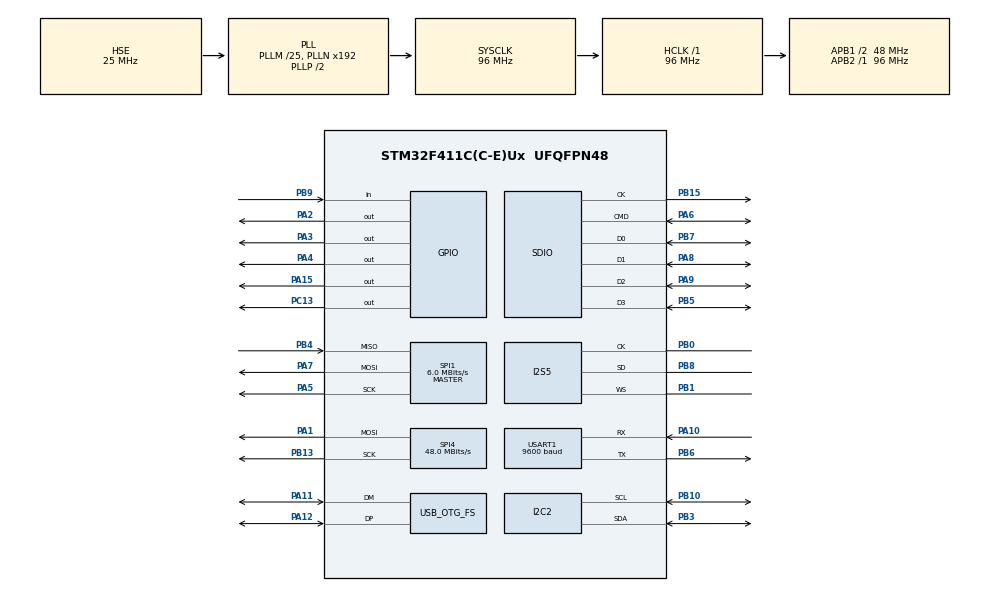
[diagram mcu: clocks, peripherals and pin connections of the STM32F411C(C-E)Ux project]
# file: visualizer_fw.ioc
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Dma.Request0=SDIO_RX
Dma.Request1=SDIO_TX
Dma.Request2=SPI4_TX
Dma.Request3=SPI5_TX
Dma.SDIO_RX.0.Direction=DMA_PERIPH_TO_MEMORY
Dma.SDIO_RX.0.FIFOMode=DMA_FIFOMODE_ENABLE
Dma.SDIO_RX.0.FIFOThreshold=DMA_FIFO_THRESHOLD_FULL
Dma.SDIO_RX.0.Instance=DMA2_Stream3
Dma.SDIO_RX.0.MemBurst=DMA_MBURST_INC4
Dma.SDIO_RX.0.MemDataAlignment=DMA_MDATAALIGN_WORD
Dma.SDIO_RX.0.MemInc=DMA_MINC_ENABLE
Dma.SDIO_RX.0.Mode=DMA_PFCTRL
Dma.SDIO_RX.0.PeriphBurst=DMA_PBURST_INC4
Dma.SDIO_RX.0.PeriphDataAlignment=DMA_PDATAALIGN_WORD
Dma.SDIO_RX.0.PeriphInc=DMA_PINC_DISABLE
Dma.SDIO_RX.0.Priority=DMA_PRIORITY_LOW
Dma.SDIO_TX.1.Direction=DMA_MEMORY_TO_PERIPH
Dma.SDIO_TX.1.FIFOMode=DMA_FIFOMODE_ENABLE
Dma.SDIO_TX.1.FIFOThreshold=DMA_FIFO_THRESHOLD_FULL
Dma.SDIO_TX.1.Instance=DMA2_Stream6
Dma.SDIO_TX.1.MemBurst=DMA_MBURST_INC4
Dma.SDIO_TX.1.MemDataAlignment=DMA_MDATAALIGN_WORD
Dma.SDIO_TX.1.MemInc=DMA_MINC_ENABLE
Dma.SDIO_TX.1.Mode=DMA_PFCTRL
Dma.SDIO_TX.1.PeriphBurst=DMA_PBURST_INC4
Dma.SDIO_TX.1.PeriphDataAlignment=DMA_PDATAALIGN_WORD
Dma.SDIO_TX.1.PeriphInc=DMA_PINC_DISABLE
Dma.SDIO_TX.1.Priority=DMA_PRIORITY_LOW
Dma.SPI4_TX.2.Direction=DMA_MEMORY_TO_PERIPH
Dma.SPI4_TX.2.FIFOMode=DMA_FIFOMODE_DISABLE
Dma.SPI4_TX.2.Instance=DMA2_Stream1
Dma.SPI4_TX.2.MemDataAlignment=DMA_MDATAALIGN_HALFWORD
Dma.SPI4_TX.2.MemInc=DMA_MINC_ENABLE
Dma.SPI4_TX.2.Mode=DMA_NORMAL
Dma.SPI4_TX.2.PeriphDataAlignment=DMA_PDATAALIGN_HALFWORD
Dma.SPI4_TX.2.PeriphInc=DMA_PINC_DISABLE
Dma.SPI4_TX.2.Priority=DMA_PRIORITY_LOW
Dma.SPI5_TX.3.Direction=DMA_MEMORY_TO_PERIPH
Dma.SPI5_TX.3.FIFOMode=DMA_FIFOMODE_DISABLE
Dma.SPI5_TX.3.Instance=DMA2_Stream4
Dma.SPI5_TX.3.MemDataAlignment=DMA_MDATAALIGN_HALFWORD
Dma.SPI5_TX.3.MemInc=DMA_MINC_ENABLE
Dma.SPI5_TX.3.Mode=DMA_NORMAL
Dma.SPI5_TX.3.PeriphDataAlignment=DMA_PDATAALIGN_HALFWORD
Dma.SPI5_TX.3.PeriphInc=DMA_PINC_DISABLE
Dma.SPI5_TX.3.Priority=DMA_PRIORITY_LOW
I2S5.AudioFreq=I2S_AUDIOFREQ_16K
I2S5.ErrorAudioFreq=-0.01 %
I2S5.FullDuplexMode=I2S_FULLDUPLEXMODE_DISABLE
I2S5.Instance=SPI$Index
I2S5.RealAudioFreq=15.998 KHz
I2S5.VirtualMode=I2S_MODE_SLAVE
Mcu.Family=STM32F4
Mcu.Name=STM32F411C(C-E)Ux
Mcu.Package=UFQFPN48
NVIC.DMA2_Stream1_IRQn=true\:5\:0\:true\:false\:true\:false\:true\:true
NVIC.DMA2_Stream3_IRQn=true\:5\:0\:true\:false\:true\:false\:true\:true
NVIC.DMA2_Stream4_IRQn=true\:5\:0\:true\:false\:true\:false\:true\:true
NVIC.DMA2_Stream6_IRQn=true\:5\:0\:true\:false\:true\:false\:true\:true
NVIC.I2C2_ER_IRQn=true\:5\:0\:true\:false\:true\:true\:true\:true
NVIC.I2C2_EV_IRQn=true\:5\:0\:true\:false\:true\:true\:true\:true
NVIC.OTG_FS_IRQn=true\:6\:0\:true\:false\:true\:false\:true\:true
NVIC.PriorityGroup=NVIC_PRIORITYGROUP_4
NVIC.SDIO_IRQn=true\:5\:0\:true\:false\:true\:true\:true\:true
NVIC.SPI1_IRQn=true\:5\:0\:true\:false\:true\:true\:true\:true
NVIC.SPI4_IRQn=true\:5\:0\:true\:false\:true\:true\:true\:true
NVIC.SPI5_IRQn=true\:5\:0\:true\:false\:true\:true\:true\:true
NVIC.USART1_IRQn=true\:5\:0\:true\:false\:true\:true\:true\:true
PA1.Mode=TX_Only_Simplex_Unidirect_Master
PA1.Signal=SPI4_MOSI
PA10.Mode=Asynchronous
PA10.Signal=USART1_RX
PA11.Mode=Device_Only
PA11.Signal=USB_OTG_FS_DM
PA12.Mode=Device_Only
PA12.Signal=USB_OTG_FS_DP
PA13.Mode=Serial_Wire
PA13.Signal=SYS_JTMS-SWDIO
PA14.Mode=Serial_Wire
PA14.Signal=SYS_JTCK-SWCLK
PA15.Signal=GPIO_Output
PA2.Signal=GPIO_Output
PA3.Signal=GPIO_Output
PA4.Signal=GPIO_Output
PA5.Mode=Full_Duplex_Master
PA5.Signal=SPI1_SCK
PA6.GPIO_PuPd=GPIO_PULLUP
PA6.Mode=SD_4_bits_Wide_bus
PA6.Signal=SDIO_CMD
PA7.Mode=Full_Duplex_Master
PA7.Signal=SPI1_MOSI
PA8.GPIO_PuPd=GPIO_PULLUP
PA8.Mode=SD_4_bits_Wide_bus
PA8.Signal=SDIO_D1
PA9.GPIO_PuPd=GPIO_PULLUP
PA9.Mode=SD_4_bits_Wide_bus
PA9.Signal=SDIO_D2
PB0.Mode=Half_Duplex_Slave
PB0.Signal=I2S5_CK
PB1.Mode=Half_Duplex_Slave
PB1.Signal=I2S5_WS
PB10.Mode=I2C
PB10.Signal=I2C2_SCL
PB13.Mode=TX_Only_Simplex_Unidirect_Master
PB13.Signal=SPI4_SCK
PB15.GPIO_PuPd=GPIO_PULLUP
PB15.Mode=SD_4_bits_Wide_bus
PB15.Signal=SDIO_CK
PB3.Mode=I2C
PB3.Signal=I2C2_SDA
PB4.Mode=Full_Duplex_Master
PB4.Signal=SPI1_MISO
PB5.GPIO_PuPd=GPIO_PULLUP
PB5.Mode=SD_4_bits_Wide_bus
PB5.Signal=SDIO_D3
PB6.Mode=Asynchronous
PB6.Signal=USART1_TX
PB7.GPIO_PuPd=GPIO_PULLUP
PB7.Mode=SD_4_bits_Wide_bus
PB7.Signal=SDIO_D0
PB8.Mode=Half_Duplex_Slave
PB8.Signal=I2S5_SD
PB9.Signal=GPIO_Input
PC13-ANTI_TAMP.Signal=GPIO_Output
PH0\ -\ OSC_IN.Mode=HSE-External-Oscillator
PH0\ -\ OSC_IN.Signal=RCC_OSC_IN
PH1\ -\ OSC_OUT.Mode=HSE-External-Oscillator
PH1\ -\ OSC_OUT.Signal=RCC_OSC_OUT
ProjectManager.HeapSize=0x200
ProjectManager.StackSize=0x400
ProjectManager.TargetToolchain=STM32CubeIDE
RCC.48MHZClocksFreq_Value=48000000
RCC.AHBFreq_Value=96000000
RCC.APB1CLKDivider=RCC_HCLK_DIV2
RCC.APB1Freq_Value=48000000
RCC.APB1TimFreq_Value=96000000
RCC.APB2Freq_Value=96000000
RCC.APB2TimFreq_Value=96000000
RCC.CortexFreq_Value=96000000
RCC.HCLKFreq_Value=96000000
RCC.HSE_VALUE=25000000
RCC.HSI_VALUE=16000000
RCC.LSE_VALUE=32768
RCC.PLLM=25
RCC.SYSCLKFreq_VALUE=96000000
RCC.SYSCLKSource=RCC_SYSCLKSOURCE_PLLCLK
RCC.VCOOutputFreq_Value=192000000
SPI1.BaudRatePrescaler=SPI_BAUDRATEPRESCALER_16
SPI1.CalculateBaudRate=6.0 MBits/s
SPI1.Direction=SPI_DIRECTION_2LINES
SPI1.Mode=SPI_MODE_MASTER
SPI1.VirtualType=VM_MASTER
SPI4.CalculateBaudRate=48.0 MBits/s
SPI4.Direction=SPI_DIRECTION_2LINES
SPI4.Mode=SPI_MODE_MASTER
SPI4.VirtualType=VM_MASTER
USART1.BaudRate=9600
USART1.VirtualMode=VM_ASYNC
USB_DEVICE.CLASS_NAME_FS=CDC
USB_DEVICE.VirtualMode=Cdc
USB_DEVICE.VirtualModeFS=Cdc_FS
USB_OTG_FS.VirtualMode=Device_Only
VP_USB_DEVICE_VS_USB_DEVICE_CDC_FS.Mode=CDC_FS
board=custom

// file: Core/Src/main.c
/* USER CODE BEGIN Header */
/**
  ******************************************************************************
  * @file           : main.c
  * @brief          : Main program body
  ******************************************************************************
  * @attention
  *
  * Copyright (c) 2024 STMicroelectronics.
  * All rights reserved.
  *
  * This software is licensed under terms that can be found in the LICENSE file
  * in the root directory of this software component.
  * If no LICENSE file comes with this software, it is provided AS-IS.
  *
  ******************************************************************************
  */
/* USER CODE END Header */
#include "main.h"
#include "dma.h"
#include "i2c.h"
#include "i2s.h"
#include "sdio.h"
#include "spi.h"
#include "usart.h"
#include "usb_device.h"
#include "gpio.h"

/* USER CODE BEGIN Includes */
#include "hw_def.h"
#include "led.h"
#include "uart.h"
#include "cli.h"
#include "cdc.h"
#include "gpio_api.h"
#include "sd.h"
#include "fatfs.h"
#include "flash.h"
#include "spi_api.h"
#include "lcd.h"
#include "i2c_api.h"
#include "mcp2515.h"
#include "i2s_api.h"
#include "files.h"
/* USER CODE END Includes */

void SystemClock_Config(void);

int main(void)
{

  /* MCU Configuration--------------------------------------------------------*/

  /* Reset of all peripherals, Initializes the Flash interface and the Systick. */
  HAL_Init();

  /* Configure the system clock */
  SystemClock_Config();

  /* USER CODE BEGIN SysInit */
  MX_GPIO_Init();
  MX_DMA_Init();
  MX_USB_DEVICE_Init();

#if 0
  /* USER CODE END SysInit */

  /* Initialize all configured peripherals */
  MX_GPIO_Init();
  MX_DMA_Init();
  MX_USB_DEVICE_Init();
  MX_SDIO_SD_Init();
  MX_SPI4_Init();
  MX_SPI1_Init();
  MX_I2S5_Init();
  MX_I2C2_Init();
  MX_USART1_UART_Init();
  /* USER CODE BEGIN 2 */
#endif

  uartInit();
  cliInit();
  ledInit();
  gpioInit();
  flashInit();
  spiInit();
  i2cInit();
  mcp2515Init();
  i2sInit();

  if(sdInit() == true)
  {
  	fatfsInit();
  }

  lcdInit();

  cliOpen(_DEF_UART1, 115200);

  //uartOpen(_DEF_UART2, 9600);

  /* USER CODE END 2 */

  /* Infinite loop */
  /* USER CODE BEGIN WHILE */

	uint32_t pre_time;

	pre_time = millis();
  while (1)
  {
    /* USER CODE END WHILE */

    /* USER CODE BEGIN 3 */
  	if(millis() - pre_time >= 1000)
  	{
  		pre_time = millis();
    	if(uartAvailable(_DEF_UART1) >= 0)
    	{

    		uartPrintf(_DEF_UART1, "Hello world\n");
    	}
  	}

  	cliMain();
  }
  /* USER CODE END 3 */
}

void SystemClock_Config(void)
{
  RCC_OscInitTypeDef RCC_OscInitStruct = {0};
  RCC_ClkInitTypeDef RCC_ClkInitStruct = {0};

  /** Configure the main internal regulator output voltage
  */
  __HAL_RCC_PWR_CLK_ENABLE();
  __HAL_PWR_VOLTAGESCALING_CONFIG(PWR_REGULATOR_VOLTAGE_SCALE1);

  /** Initializes the RCC Oscillators according to the specified parameters
  * in the RCC_OscInitTypeDef structure.
  */
  RCC_OscInitStruct.OscillatorType = RCC_OSCILLATORTYPE_HSE;
  RCC_OscInitStruct.HSEState = RCC_HSE_ON;
  RCC_OscInitStruct.PLL.PLLState = RCC_PLL_ON;
  RCC_OscInitStruct.PLL.PLLSource = RCC_PLLSOURCE_HSE;
  RCC_OscInitStruct.PLL.PLLM = 25;
  RCC_OscInitStruct.PLL.PLLN = 192;
  RCC_OscInitStruct.PLL.PLLP = RCC_PLLP_DIV2;
  RCC_OscInitStruct.PLL.PLLQ = 4;
  if (HAL_RCC_OscConfig(&RCC_OscInitStruct) != HAL_OK)
  {
    Error_Handler();
  }

  /** Initializes the CPU, AHB and APB buses clocks
  */
  RCC_ClkInitStruct.ClockType = RCC_CLOCKTYPE_HCLK|RCC_CLOCKTYPE_SYSCLK
                              |RCC_CLOCKTYPE_PCLK1|RCC_CLOCKTYPE_PCLK2;
  RCC_ClkInitStruct.SYSCLKSource = RCC_SYSCLKSOURCE_PLLCLK;
  RCC_ClkInitStruct.AHBCLKDivider = RCC_SYSCLK_DIV1;
  RCC_ClkInitStruct.APB1CLKDivider = RCC_HCLK_DIV2;
  RCC_ClkInitStruct.APB2CLKDivider = RCC_HCLK_DIV1;

  if (HAL_RCC_ClockConfig(&RCC_ClkInitStruct, FLASH_LATENCY_3) != HAL_OK)
  {
    Error_Handler();
  }
}

void Error_Handler(void)
{
  __disable_irq();
  while (1)
  {
  }
}
